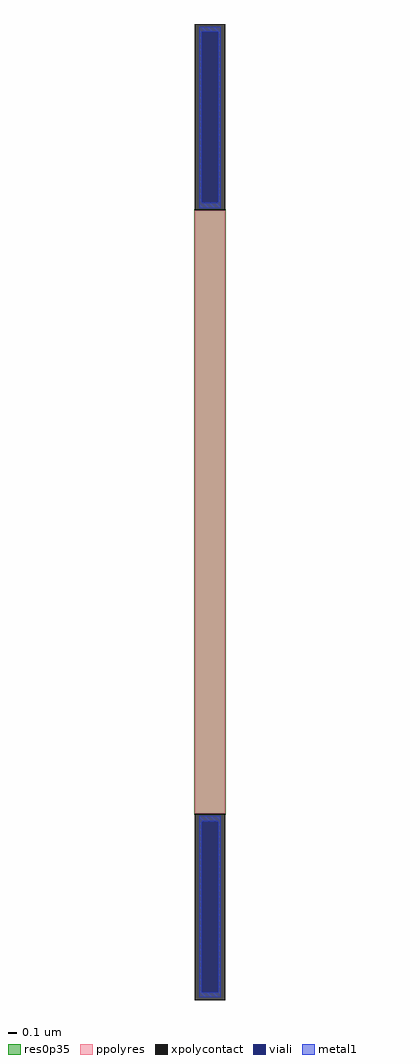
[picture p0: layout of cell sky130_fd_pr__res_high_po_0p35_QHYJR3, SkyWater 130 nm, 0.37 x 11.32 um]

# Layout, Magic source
magic
tech sky130A
magscale 1 2
<< xpolycontact >>
rect -35 700 35 1132
rect -35 -1132 35 -700
<< ppolyres >>
rect -35 -700 35 700
<< viali >>
rect -19 717 19 1114
rect -19 -1114 19 -717
<< metal1 >>
rect -25 1114 25 1126
rect -25 717 -19 1114
rect 19 717 25 1114
rect -25 705 25 717
rect -25 -717 25 -705
rect -25 -1114 -19 -717
rect 19 -1114 25 -717
rect -25 -1126 25 -1114
<< res0p35 >>
rect -37 -702 37 702
<< properties >>
string gencell sky130_fd_pr__res_high_po_0p35
string parameters w 0.350 l 7 m 1 nx 1 wmin 0.350 lmin 0.50 rho 319.8 val 6.505k dummy 0 dw 0.0 term 19.188 sterm 0.0 caplen 0 guard 0 glc 0 grc 0 gtc 0 gbc 0 compatible {sky130_fd_pr__res_high_po_0p35  sky130_fd_pr__res_high_po_0p69 sky130_fd_pr__res_high_po_1p41  sky130_fd_pr__res_high_po_2p85 sky130_fd_pr__res_high_po_5p73} full_metal 0 wmax 0.350 vias 1 n_guard 0 hv_guard 0 viagb 0 viagt 0 viagl 0 viagr 0
string library sky130
<< end >>
